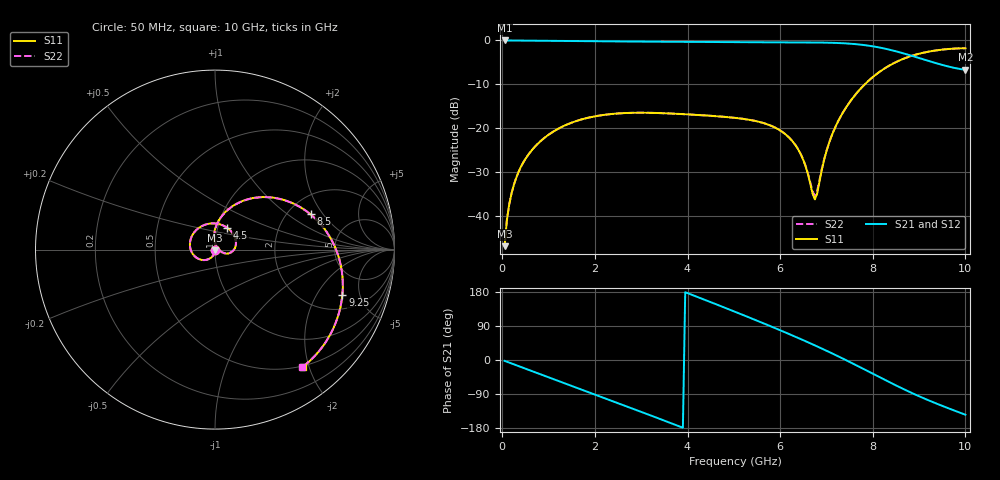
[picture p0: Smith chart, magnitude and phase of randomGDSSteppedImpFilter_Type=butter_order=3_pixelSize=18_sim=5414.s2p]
! freq	dB(S11)	phase(S11)	dB(S12)	phase(S12)
!  dB(S21)	phase(S21)	dB(S22)	phase(S22)
!S-par simulation data
#  GHz  S  DB  R 50
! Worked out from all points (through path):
!   200 points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, 50 MHz to 10 GHz, reference 50 ohm
!   highest |S21| = 0.00 dB at 50 MHz (marker M1); lowest = -6.7 dB at 10 GHz (marker M2)
!   group delay of S21, straight-line fit = 141 ps
!   lowest |S11| = -46.8 dB at 50 MHz (marker M3), VSWR 1.01, Z = 50 - j0.459 ohm
!   |S11| at or under -10 dB: start of sweep to 7.825 GHz
!   |S22| runs from -46.8 to -1.8 dB; largest |S21 - S12| = 0
!   S11 on the Smith chart (normalised r, x): 50 MHz: 1.00, -0.01; 4.5 GHz: 1.11, +0.28; 8.5 GHz: 2.63, +1.53; 9.25 GHz: 2.91, -3.41; 10 GHz: 0.48, -1.90
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0.05  -46.76 -91.7  -0.00 -2.3  -0.00 -2.3  -46.76 -91.7
0.1  -40.74 -94.3  -0.01 -4.6  -0.01 -4.6  -40.74 -94.3
0.2  -34.73 -99.1  -0.01 -9.2  -0.01 -9.2  -34.73 -99.1
0.5  -26.92 -113.5  -0.04 -22.9  -0.04 -22.9  -26.92 -113.5
1.15  -20.41 -143.4  -0.10 -52.5  -0.10 -52.5  -20.41 -143.3
1.75  -17.84 -171.2  -0.16 -79.7  -0.16 -79.7  -17.84 -171.1
2.55  -16.56 152.0  -0.23 -116.1  -0.23 -116.1  -16.56 152.2
3.4  -16.50 112.8  -0.29 -155.3  -0.29 -155.3  -16.50 113.1
3.95  -16.77 87.0  -0.33 178.9  -0.33 178.9  -16.77 87.3
4.5  -17.12 60.9  -0.36 152.7  -0.36 152.7  -17.13 61.4
5.05  -17.62 35.2  -0.40 126.1  -0.40 126.1  -17.62 35.8
5.65  -18.80 7.6  -0.42 96.3  -0.42 96.3  -18.80 8.3
6.2  -22.15 -16.0  -0.44 68.2  -0.44 68.2  -22.13 -14.9
6.5  -27.18 -22.0  -0.44 52.2  -0.44 52.2  -27.09 -20.1
6.7  -34.85 6.7  -0.46 41.3  -0.46 41.3  -34.29 9.1
6.75  -36.12 34.0  -0.46 38.6  -0.46 38.6  -35.35 34.4
7.1  -22.02 93.7  -0.53 18.7  -0.53 18.7  -21.98 92.8
7.5  -14.04 77.5  -0.73 -5.1  -0.73 -5.1  -14.04 77.2
8.35  -5.75 29.0  -2.07 -57.9  -2.07 -57.9  -5.75 28.9
8.5  -4.92 20.3  -2.46 -67.0  -2.46 -67.0  -4.92 20.2
9.25  -2.46 -19.7  -4.81 -108.7  -4.81 -108.7  -2.46 -19.7
10  -1.77 -53.3  -6.67 -144.5  -6.67 -144.5  -1.77 -53.4
